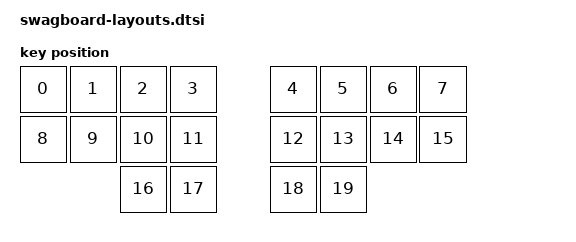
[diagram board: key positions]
#include <physical_layouts.dtsi>

/ {
    physical_layout_swagboard: physical_layout_swagboard {
        compatible = "zmk,physical-layout";
        display-name = "swagboard";
        keys  //                     w   h    x    y     rot    rx    ry
            = <&key_physical_attrs 100 100    0    0       0     0     0>
            , <&key_physical_attrs 100 100  100    0       0     0     0>
            , <&key_physical_attrs 100 100  200    0       0     0     0>
            , <&key_physical_attrs 100 100  300    0       0     0     0>
            , <&key_physical_attrs 100 100  500    0       0     0     0>
            , <&key_physical_attrs 100 100  600    0       0     0     0>
            , <&key_physical_attrs 100 100  700    0       0     0     0>
            , <&key_physical_attrs 100 100  800    0       0     0     0>
            , <&key_physical_attrs 100 100    0  100       0     0     0>
            , <&key_physical_attrs 100 100  100  100       0     0     0>
            , <&key_physical_attrs 100 100  200  100       0     0     0>
            , <&key_physical_attrs 100 100  300  100       0     0     0>
            , <&key_physical_attrs 100 100  500  100       0     0     0>
            , <&key_physical_attrs 100 100  600  100       0     0     0>
            , <&key_physical_attrs 100 100  700  100       0     0     0>
            , <&key_physical_attrs 100 100  800  100       0     0     0>
            , <&key_physical_attrs 100 100  200  200       0     0     0>
            , <&key_physical_attrs 100 100  300  200       0     0     0>
            , <&key_physical_attrs 100 100  500  200       0     0     0>
            , <&key_physical_attrs 100 100  600  200       0     0     0>
            ;
    };
};
